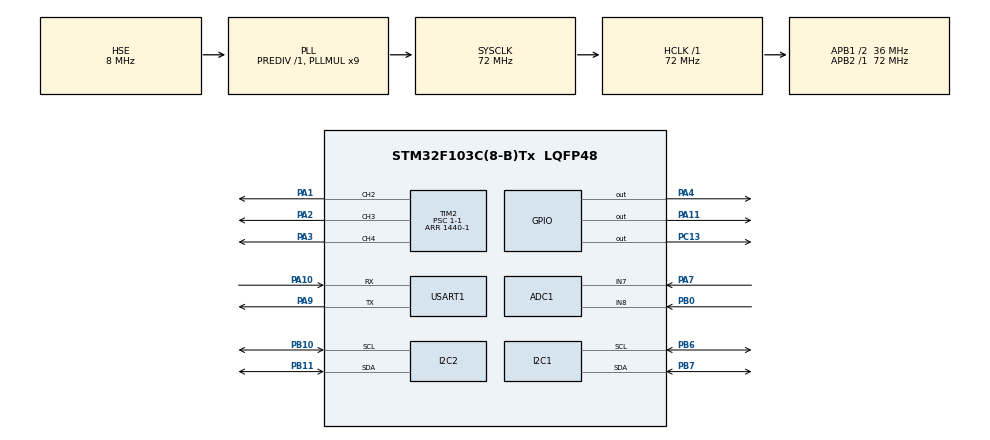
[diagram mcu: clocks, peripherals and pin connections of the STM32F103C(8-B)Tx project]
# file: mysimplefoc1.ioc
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ADC1.Channel-0\#ChannelRegularConversion=ADC_CHANNEL_7
ADC1.Channel-1\#ChannelRegularConversion=ADC_CHANNEL_8
ADC1.ContinuousConvMode=ENABLE
ADC1.DataAlign=ADC_DATAALIGN_RIGHT
ADC1.EnableInjectedConversion=ENABLE
ADC1.ExternalTrigConv=ADC_SOFTWARE_START
ADC1.ExternalTrigInjecConv=ADC_INJECTED_SOFTWARE_START
ADC1.InjNumberOfConversion=1
ADC1.NbrOfConversion=2
ADC1.NbrOfConversionFlag=1
ADC1.Rank-0\#ChannelRegularConversion=1
ADC1.Rank-1\#ChannelRegularConversion=2
ADC1.SamplingTime-0\#ChannelRegularConversion=ADC_SAMPLETIME_1CYCLE_5
ADC1.SamplingTime-1\#ChannelRegularConversion=ADC_SAMPLETIME_1CYCLE_5
ADC1.master=1
Dma.ADC1.0.Direction=DMA_PERIPH_TO_MEMORY
Dma.ADC1.0.Instance=DMA1_Channel1
Dma.ADC1.0.MemDataAlignment=DMA_MDATAALIGN_HALFWORD
Dma.ADC1.0.MemInc=DMA_MINC_ENABLE
Dma.ADC1.0.Mode=DMA_CIRCULAR
Dma.ADC1.0.PeriphDataAlignment=DMA_PDATAALIGN_HALFWORD
Dma.ADC1.0.PeriphInc=DMA_PINC_DISABLE
Dma.ADC1.0.Priority=DMA_PRIORITY_LOW
Dma.Request0=ADC1
Mcu.Family=STM32F1
Mcu.Name=STM32F103C(8-B)Tx
Mcu.Package=LQFP48
NVIC.DMA1_Channel1_IRQn=true\:0\:0\:false\:false\:true\:false\:true\:true
NVIC.I2C1_ER_IRQn=true\:0\:0\:false\:false\:true\:true\:true\:true
NVIC.I2C1_EV_IRQn=true\:0\:0\:false\:false\:true\:true\:true\:true
NVIC.PriorityGroup=NVIC_PRIORITYGROUP_4
NVIC.TIM2_IRQn=true\:0\:0\:false\:false\:true\:true\:true\:true
NVIC.USART1_IRQn=true\:0\:0\:false\:false\:true\:true\:true\:true
PA1.Signal=S_TIM2_CH2
PA10.Mode=Asynchronous
PA10.Signal=USART1_RX
PA11.Signal=GPIO_Output
PA13.Mode=Serial_Wire
PA13.Signal=SYS_JTMS-SWDIO
PA14.Mode=Serial_Wire
PA14.Signal=SYS_JTCK-SWCLK
PA2.Signal=S_TIM2_CH3
PA3.Signal=S_TIM2_CH4
PA4.Signal=GPIO_Output
PA7.Signal=ADCx_IN7
PA9.Mode=Asynchronous
PA9.Signal=USART1_TX
PB0.Signal=ADCx_IN8
PB10.Mode=I2C
PB10.Signal=I2C2_SCL
PB11.Mode=I2C
PB11.Signal=I2C2_SDA
PB6.Mode=I2C
PB6.Signal=I2C1_SCL
PB7.Mode=I2C
PB7.Signal=I2C1_SDA
PC13-TAMPER-RTC.Signal=GPIO_Output
PD0-OSC_IN.Mode=HSE-External-Oscillator
PD0-OSC_IN.Signal=RCC_OSC_IN
PD1-OSC_OUT.Mode=HSE-External-Oscillator
PD1-OSC_OUT.Signal=RCC_OSC_OUT
ProjectManager.HeapSize=0x200
ProjectManager.StackSize=0x400
ProjectManager.TargetToolchain=MDK-ARM V5.32
RCC.ADCPresc=RCC_ADCPCLK2_DIV8
RCC.AHBFreq_Value=72000000
RCC.APB1CLKDivider=RCC_HCLK_DIV2
RCC.APB1Freq_Value=36000000
RCC.APB1TimFreq_Value=72000000
RCC.APB2Freq_Value=72000000
RCC.APB2TimFreq_Value=72000000
RCC.HCLKFreq_Value=72000000
RCC.PLLMUL=RCC_PLL_MUL9
RCC.PLLSourceVirtual=RCC_PLLSOURCE_HSE
RCC.SYSCLKFreq_VALUE=72000000
RCC.SYSCLKSource=RCC_SYSCLKSOURCE_PLLCLK
RCC.USBFreq_Value=72000000
SH.ADCx_IN7.0=ADC1_IN7,IN7
SH.ADCx_IN8.0=ADC1_IN8,IN8
SH.S_TIM2_CH2.0=TIM2_CH2,PWM Generation2 CH2
SH.S_TIM2_CH3.0=TIM2_CH3,PWM Generation3 CH3
SH.S_TIM2_CH4.0=TIM2_CH4,PWM Generation4 CH4
TIM2.AutoReloadPreload=TIM_AUTORELOAD_PRELOAD_ENABLE
TIM2.Channel-PWM\ Generation2\ CH2=TIM_CHANNEL_2
TIM2.Channel-PWM\ Generation3\ CH3=TIM_CHANNEL_3
TIM2.Channel-PWM\ Generation4\ CH4=TIM_CHANNEL_4
TIM2.Period=1440-1
TIM2.Prescaler=1-1
TIM2.TIM_MasterOutputTrigger=TIM_TRGO_RESET
USART1.VirtualMode=VM_ASYNC
VP_TIM2_VS_ClockSourceINT.Mode=Internal
board=custom

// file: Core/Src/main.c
/* USER CODE BEGIN Header */
/**
  ******************************************************************************
  * @file           : main.c
  * @brief          : Main program body
  ******************************************************************************
  * @attention
  *
  * Copyright (c) 2024 STMicroelectronics.
  * All rights reserved.
  *
  * This software is licensed under terms that can be found in the LICENSE file
  * in the root directory of this software component.
  * If no LICENSE file comes with this software, it is provided AS-IS.
  *
  ******************************************************************************
  */
/* USER CODE END Header */
#include "main.h"
#include "adc.h"
#include "dma.h"
#include "i2c.h"
#include "tim.h"
#include "usart.h"
#include "gpio.h"

/* USER CODE BEGIN Includes */

#include "MyProject.h"
/* USER CODE END Includes */

void SystemClock_Config(void);

/* USER CODE BEGIN 0 */
char message[64]="";
int fputc(int ch,FILE *f)
{
    HAL_UART_Transmit(&huart1,(unsigned char *)&ch,1,1);
    return ch;
}
float target=0;
float target_v=15;
float target_c=0.3;
int choose=2;
float pid_p=0;
float pid_i=0;
float pid_d=0;
uint8_t  RecieveBuffer[1]={0};//????????
//HAL_UART_Receive_IT(&huart1, (uint8_t *)RecieveBuffer, 1);
uint8_t  CO2Buffer[12];//????????
uint8_t  RxLine=0; //????????
uint8_t errorBuffer[]="\r\nerror\r\n"; //????
/**
 * @brief ???????
 * @param  ???
 * @retval void
 * @author smart_mode
 * @Time 2021?11?21?
*/
void HAL_UART_RxCpltCallback(UART_HandleTypeDef *huart)
{
	UNUSED(huart);
	RxLine++;
	CO2Buffer[RxLine-1]=RecieveBuffer[0];
	if (RxLine>12) //?????????,?????????????
	{
		RxLine=0;
		memset(CO2Buffer,0,sizeof(CO2Buffer));
		HAL_UART_Transmit_IT(&huart1, (uint8_t *)errorBuffer,sizeof(errorBuffer));
	}
	if (RecieveBuffer[0]==0x0A)  //???????,????????
	{
		switch(CO2Buffer[0])
		{
			case 'P':
				//printf("Hello World!\r\n");
			pid_p=atof((const char *)(CO2Buffer+1));
			//PID_current_d.P=pid_p;
			P_angle.P=pid_p;
			//PID_velocity.P=pid_p;
				printf("RX=%.4f\r\n", pid_p);
				break;
			case 'I':
				//printf("Hello World!\r\n");
			pid_i=atof((const char *)(CO2Buffer+1));
			//PID_current_d.I=pid_i;
			P_angle.I=pid_i;
			//PID_velocity.I=pid_i;
				printf("RX=%.4f\r\n", pid_i);
				break;
			case 'D':
				//printf("Hello World!\r\n");
			pid_d=atof((const char *)(CO2Buffer+1));
			//PID_current_q.D=pid_d;
			P_angle.D=pid_d;
				printf("RX=%.4f\r\n", pid_d);
				break;
			case 'V':   //T6.28
				target_v=atof((const char *)(CO2Buffer+1));
				printf("RX=%.4f\r\n", target_v);
				break;
			case 'C':   //T6.28
				target_c=atof((const char *)(CO2Buffer+1));
				printf("RX=%.4f\r\n", target_c);
				break;
			case 'T':   //T6.28
				choose=2;
				target=atof((const char *)(CO2Buffer+1));
				printf("RX=%.4f\r\n", target);
				break;
			case 't':   //T6.28//no current
				choose=3;
				target=atof((const char *)(CO2Buffer+1));
				printf("RX=%.4f\r\n", target);
				break;
		}
		//HAL_UART_Transmit_IT(&huart1, (uint8_t *)CO2Buffer,RxLine);  //??????????,????????
		RxLine=0;
	}
/*switch(RecieveBuffer[0])
		{
			case 'H':
				printf("Hello World!\r\n");
				break;
			case 'T':   //T6.28
				target=atof((const char *)(RecieveBuffer+1));
				printf("RX=%.4f\r\n", target);
				break;
		}*/
	RecieveBuffer[0]=0;
	HAL_UART_Receive_IT(&huart1, (uint8_t *)RecieveBuffer, 1);

	//??????????
}

void systick_CountMode(void)
{
	SysTick->LOAD = 0xFFFFFF-1;      //set reload register
  SysTick->VAL  = 0;
  SysTick->CTRL = SysTick_CTRL_ENABLE_Msk; //Enable SysTick Timer
}
/*
uint8_t AdcConvEnd=0;
void HAL_ADC_ConvCpltCallback(ADC_HandleTypeDef* hadc)
{
    if(hadc==&hadc1)
    {
        AdcConvEnd=1;
    }
}*/
/* USER CODE END 0 */

int main(void)
{

  /* MCU Configuration--------------------------------------------------------*/

  /* Reset of all peripherals, Initializes the Flash interface and the Systick. */
  HAL_Init();

  /* Configure the system clock */
  SystemClock_Config();

  /* Initialize all configured peripherals */
  MX_GPIO_Init();
  MX_DMA_Init();
  MX_USART1_UART_Init();
  MX_ADC1_Init();
  MX_I2C1_Init();
  MX_I2C2_Init();
  MX_TIM2_Init();
  /* USER CODE BEGIN 2 */
	 //HAL_TIM_Base_Start(&htim2);
HAL_UART_Receive_IT(&huart1, (uint8_t *)RecieveBuffer, 1);
//HAL_TIM_PWM_Start(&htim2,TIM_CHANNEL_1);
HAL_TIM_PWM_Start(&htim2,TIM_CHANNEL_2);
HAL_TIM_PWM_Start(&htim2,TIM_CHANNEL_3);
HAL_TIM_PWM_Start(&htim2,TIM_CHANNEL_4);
HAL_GPIO_WritePin(GPIOA, GPIO_PIN_4, GPIO_PIN_SET);

	 /*uint16_t ADC_Value[18]={0};
		uint16_t value1=0;
		uint16_t value2=0;
	HAL_ADCEx_Calibration_Start(&hadc1);
	 HAL_ADC_Start_DMA(&hadc1, (uint32_t *)ADC_Value, 18);*/
	 InlineCurrentSense_Init(); //ADC??????????
//int i=0;
//float a1=0;
HAL_Delay(1000);
//printf("ADC7 : %.5f \r\n",_readADCVoltageInline(7));
/*for(i=0; i<1000; i++)
	{
		a1 += _readADCVoltageInline(7);

		HAL_Delay(1);
	}
	a1 = a1/1000;
	printf("ADC7 : %.5f \r\n",a1);*/
Current_calibrateOffsets();
	InlineCurrentSense(0.01,50,7,8,NOT_SET);    //SimpleMotor//??????,????,A?,B?,C?

	LPF_init();                //LPF?????
	PID_init();                //PID?????

	voltage_power_supply=12;   //V ????
	pole_pairs=7;              //?????,??????,???????????????
	voltage_sensor_align=2;    //V alignSensor() use it,?????????????0.5-1,????????????2-3
	voltage_limit=6;           //V,???????????,??????12/1.732=6.9
	velocity_limit=target_v;         //rad/s ???????????,?????????????
	current_limit=target_c;          //A,foc_current?dc_current??????,???0?????????????
	torque_controller=Type_foc_current;  //Type_dc_current;//  Type_foc_current;  //Type_voltage;
	controller=Type_angle;  //Type_torque;  //Type_velocity;  //Type_angle;
	PID_current_d.P=20;   //0.6 //60   //???PI??,???? PID_init() ?????????
	PID_current_d.I=0.3;    //0  //40     //???I???????,???0??P?????
	//PID_current_d.limit = 0.5;
	PID_current_q.P=60;
	PID_current_q.I=1;
	//PID_current_q.limit = 0.5;
	PID_velocity.P=0.05;        //0.05, ???PI??,??P????????
	PID_velocity.I=0.001;
	P_angle.P=2;
	P_angle.D=0.1;//?????,??P??
	PID_velocity.output_ramp=40;//20 //??????,??????????0
	LPF_velocity.Tf=0.005;  //0.0001    //Tf?????,????????,???????;?????????????,Tf?????????
	target=0;

	Motor_init();
	Motor_initFOC(0,UNKNOWN);  //(2.2,CW);(0,UNKNOWN);  //?????????????,???????????????????
  printf("Motor ready.\r\n");

	systick_CountMode();   //?????delay_us()?delay_ms()??
  int aa=0;
  /* USER CODE END 2 */

  /* Infinite loop */
  /* USER CODE BEGIN WHILE */
  while (1)
  {
		HAL_GPIO_WritePin(GPIOC, GPIO_PIN_13, GPIO_PIN_SET);

		if(aa>10){aa=0;printf("%.3f , %.6f , %.4f , %.4f , %.2f\r\n",target,voltageq,-getVelocity(),-getAngle(),P_angle.P);}
		//if(aa>10){aa=0;printf("%.3f , %.3f\r\n",(value1*3.3f/4679),(value2*3.3f/4679));}
		if(choose==3)
			{
				torque_controller=Type_voltage;
				PID_velocity.P=0.1;        //0.05, ???PI??,??P????????
	      PID_velocity.I=0.01;
				PID_velocity.limit=voltage_limit;
			}else{
				torque_controller=Type_foc_current;
				PID_velocity.P=0.05;        //0.05, ???PI??,??P????????
	      PID_velocity.I=0.001;
				PID_velocity.limit=target_c;
			}
		P_angle.limit=target_v;
	//PID_velocity.limit=target_c;
		move(target);
		loopFOC();
		aa++;

    /* USER CODE END WHILE */

  }
}

void SystemClock_Config(void)
{
  RCC_OscInitTypeDef RCC_OscInitStruct = {0};
  RCC_ClkInitTypeDef RCC_ClkInitStruct = {0};
  RCC_PeriphCLKInitTypeDef PeriphClkInit = {0};

  /** Initializes the RCC Oscillators according to the specified parameters
  * in the RCC_OscInitTypeDef structure.
  */
  RCC_OscInitStruct.OscillatorType = RCC_OSCILLATORTYPE_HSE;
  RCC_OscInitStruct.HSEState = RCC_HSE_ON;
  RCC_OscInitStruct.HSEPredivValue = RCC_HSE_PREDIV_DIV1;
  RCC_OscInitStruct.HSIState = RCC_HSI_ON;
  RCC_OscInitStruct.PLL.PLLState = RCC_PLL_ON;
  RCC_OscInitStruct.PLL.PLLSource = RCC_PLLSOURCE_HSE;
  RCC_OscInitStruct.PLL.PLLMUL = RCC_PLL_MUL9;
  if (HAL_RCC_OscConfig(&RCC_OscInitStruct) != HAL_OK)
  {
    Error_Handler();
  }

  /** Initializes the CPU, AHB and APB buses clocks
  */
  RCC_ClkInitStruct.ClockType = RCC_CLOCKTYPE_HCLK|RCC_CLOCKTYPE_SYSCLK
                              |RCC_CLOCKTYPE_PCLK1|RCC_CLOCKTYPE_PCLK2;
  RCC_ClkInitStruct.SYSCLKSource = RCC_SYSCLKSOURCE_PLLCLK;
  RCC_ClkInitStruct.AHBCLKDivider = RCC_SYSCLK_DIV1;
  RCC_ClkInitStruct.APB1CLKDivider = RCC_HCLK_DIV2;
  RCC_ClkInitStruct.APB2CLKDivider = RCC_HCLK_DIV1;

  if (HAL_RCC_ClockConfig(&RCC_ClkInitStruct, FLASH_LATENCY_2) != HAL_OK)
  {
    Error_Handler();
  }
  PeriphClkInit.PeriphClockSelection = RCC_PERIPHCLK_ADC;
  PeriphClkInit.AdcClockSelection = RCC_ADCPCLK2_DIV8;
  if (HAL_RCCEx_PeriphCLKConfig(&PeriphClkInit) != HAL_OK)
  {
    Error_Handler();
  }
}

void Error_Handler(void)
{
  __disable_irq();
  while (1)
  {
  }
}
